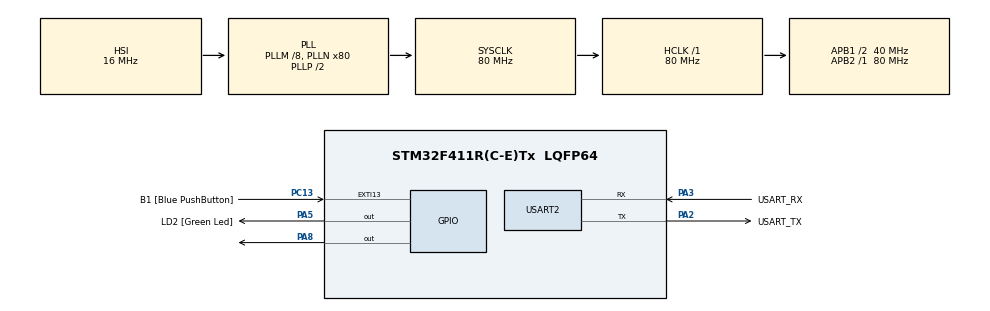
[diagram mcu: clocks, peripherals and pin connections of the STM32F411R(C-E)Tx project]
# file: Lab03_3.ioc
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Mcu.Family=STM32F4
Mcu.Name=STM32F411R(C-E)Tx
Mcu.Package=LQFP64
NVIC.EXTI15_10_IRQn=true\:0\:0\:false\:false\:true\:true\:true\:true
NVIC.PriorityGroup=NVIC_PRIORITYGROUP_0
NVIC.TIM1_BRK_TIM9_IRQn=true\:0\:0\:false\:false\:true\:true\:true\:true
NVIC.TIM1_TRG_COM_TIM11_IRQn=true\:0\:0\:false\:false\:true\:true\:true\:true
NVIC.TIM1_UP_TIM10_IRQn=true\:0\:0\:false\:false\:true\:true\:true\:true
PA13.GPIO_Label=TMS
PA13.Mode=Serial_Wire
PA13.Signal=SYS_JTMS-SWDIO
PA14.GPIO_Label=TCK
PA14.Mode=Serial_Wire
PA14.Signal=SYS_JTCK-SWCLK
PA2.GPIO_Label=USART_TX
PA2.Mode=Asynchronous
PA2.Signal=USART2_TX
PA3.GPIO_Label=USART_RX
PA3.Mode=Asynchronous
PA3.Signal=USART2_RX
PA5.GPIO_Label=LD2 [Green Led]
PA5.Signal=GPIO_Output
PA8.Signal=GPIO_Output
PB3.GPIO_Label=SWO
PB3.Signal=SYS_JTDO-SWO
PC13-ANTI_TAMP.GPIO_Label=B1 [Blue PushButton]
PC13-ANTI_TAMP.GPIO_ModeDefaultEXTI=GPIO_MODE_IT_FALLING
PC13-ANTI_TAMP.GPIO_PuPd=GPIO_PULLUP
PC13-ANTI_TAMP.Signal=GPXTI13
PC14-OSC32_IN.Mode=LSE-External-Oscillator
PC14-OSC32_IN.Signal=RCC_OSC32_IN
PC15-OSC32_OUT.Mode=LSE-External-Oscillator
PC15-OSC32_OUT.Signal=RCC_OSC32_OUT
PH0\ -\ OSC_IN.Mode=HSE-External-Oscillator
PH0\ -\ OSC_IN.Signal=RCC_OSC_IN
PH1\ -\ OSC_OUT.Mode=HSE-External-Oscillator
PH1\ -\ OSC_OUT.Signal=RCC_OSC_OUT
ProjectManager.HeapSize=0x200
ProjectManager.StackSize=0x400
ProjectManager.TargetToolchain=STM32CubeIDE
RCC.48MHZClocksFreq_Value=40000000
RCC.AHBFreq_Value=80000000
RCC.APB1CLKDivider=RCC_HCLK_DIV2
RCC.APB1Freq_Value=40000000
RCC.APB1TimFreq_Value=80000000
RCC.APB2Freq_Value=80000000
RCC.APB2TimFreq_Value=80000000
RCC.CortexFreq_Value=80000000
RCC.FLatency-AdvancedSettings=FLASH_LATENCY_2
RCC.HCLKFreq_Value=80000000
RCC.HSE_VALUE=8000000
RCC.HSI_VALUE=16000000
RCC.PLLM=8
RCC.PLLN=80
RCC.SYSCLKFreq_VALUE=80000000
RCC.SYSCLKSource=RCC_SYSCLKSOURCE_PLLCLK
RCC.VCOOutputFreq_Value=160000000
TIM10.Period=39240
TIM10.Prescaler=1000
TIM11.Period=39996
TIM11.Prescaler=2000
TIM9.Period=40000
TIM9.Prescaler=1000
USART2.VirtualMode=VM_ASYNC
VP_TIM10_VS_ClockSourceINT.Mode=Enable_Timer
VP_TIM11_VS_ClockSourceINT.Mode=Enable_Timer
VP_TIM9_VS_ClockSourceINT.Mode=Internal
board=NUCLEO-F411RE

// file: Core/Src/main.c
/* USER CODE BEGIN Header */
/**
  ******************************************************************************
  * @file           : main.c
  * @brief          : Main program body
  ******************************************************************************
  * @attention
  *
  * Copyright (c) 2023 STMicroelectronics.
  * All rights reserved.
  *
  * This software is licensed under terms that can be found in the LICENSE file
  * in the root directory of this software component.
  * If no LICENSE file comes with this software, it is provided AS-IS.
  *
  ******************************************************************************
  */
/* USER CODE END Header */
#include "main.h"

TIM_HandleTypeDef htim9;
TIM_HandleTypeDef htim10;
TIM_HandleTypeDef htim11;

UART_HandleTypeDef huart2;

void SystemClock_Config(void);
static void MX_GPIO_Init(void);
static void MX_USART2_UART_Init(void);
static void MX_TIM10_Init(void);
static void MX_TIM9_Init(void);
static void MX_TIM11_Init(void);

/* USER CODE BEGIN 0 */
int green_counter = 0;
int red_counter = 0;

char temp[16];
/* USER CODE END 0 */

int main(void)
{

  /* MCU Configuration--------------------------------------------------------*/

  /* Reset of all peripherals, Initializes the Flash interface and the Systick. */
  HAL_Init();

  /* Configure the system clock */
  SystemClock_Config();

  /* Initialize all configured peripherals */
  MX_GPIO_Init();
  MX_USART2_UART_Init();
  MX_TIM10_Init();
  MX_TIM9_Init();
  MX_TIM11_Init();
  /* USER CODE BEGIN 2 */
  HAL_TIM_Base_Start_IT(&htim9);
  HAL_TIM_Base_Start_IT(&htim10);
  HAL_TIM_Base_Start_IT(&htim11);
  /* USER CODE END 2 */

  /* Infinite loop */
  while (1)
  {

  }
}

void SystemClock_Config(void)
{
  RCC_OscInitTypeDef RCC_OscInitStruct = {0};
  RCC_ClkInitTypeDef RCC_ClkInitStruct = {0};

  /** Configure the main internal regulator output voltage
  */
  __HAL_RCC_PWR_CLK_ENABLE();
  __HAL_PWR_VOLTAGESCALING_CONFIG(PWR_REGULATOR_VOLTAGE_SCALE1);

  /** Initializes the RCC Oscillators according to the specified parameters
  * in the RCC_OscInitTypeDef structure.
  */
  RCC_OscInitStruct.OscillatorType = RCC_OSCILLATORTYPE_HSI;
  RCC_OscInitStruct.HSIState = RCC_HSI_ON;
  RCC_OscInitStruct.HSICalibrationValue = RCC_HSICALIBRATION_DEFAULT;
  RCC_OscInitStruct.PLL.PLLState = RCC_PLL_ON;
  RCC_OscInitStruct.PLL.PLLSource = RCC_PLLSOURCE_HSI;
  RCC_OscInitStruct.PLL.PLLM = 8;
  RCC_OscInitStruct.PLL.PLLN = 80;
  RCC_OscInitStruct.PLL.PLLP = RCC_PLLP_DIV2;
  RCC_OscInitStruct.PLL.PLLQ = 4;
  if (HAL_RCC_OscConfig(&RCC_OscInitStruct) != HAL_OK)
  {
    Error_Handler();
  }

  /** Initializes the CPU, AHB and APB buses clocks
  */
  RCC_ClkInitStruct.ClockType = RCC_CLOCKTYPE_HCLK|RCC_CLOCKTYPE_SYSCLK
                              |RCC_CLOCKTYPE_PCLK1|RCC_CLOCKTYPE_PCLK2;
  RCC_ClkInitStruct.SYSCLKSource = RCC_SYSCLKSOURCE_PLLCLK;
  RCC_ClkInitStruct.AHBCLKDivider = RCC_SYSCLK_DIV1;
  RCC_ClkInitStruct.APB1CLKDivider = RCC_HCLK_DIV2;
  RCC_ClkInitStruct.APB2CLKDivider = RCC_HCLK_DIV1;

  if (HAL_RCC_ClockConfig(&RCC_ClkInitStruct, FLASH_LATENCY_2) != HAL_OK)
  {
    Error_Handler();
  }
}

static void MX_TIM9_Init(void)
{

  TIM_ClockConfigTypeDef sClockSourceConfig = {0};

  htim9.Instance = TIM9;
  htim9.Init.Prescaler = 1000;
  htim9.Init.CounterMode = TIM_COUNTERMODE_UP;
  htim9.Init.Period = 40000;
  htim9.Init.ClockDivision = TIM_CLOCKDIVISION_DIV1;
  htim9.Init.AutoReloadPreload = TIM_AUTORELOAD_PRELOAD_DISABLE;
  if (HAL_TIM_Base_Init(&htim9) != HAL_OK)
  {
    Error_Handler();
  }
  sClockSourceConfig.ClockSource = TIM_CLOCKSOURCE_INTERNAL;
  if (HAL_TIM_ConfigClockSource(&htim9, &sClockSourceConfig) != HAL_OK)
  {
    Error_Handler();
  }

}

static void MX_TIM10_Init(void)
{

  htim10.Instance = TIM10;
  htim10.Init.Prescaler = 1000;
  htim10.Init.CounterMode = TIM_COUNTERMODE_UP;
  htim10.Init.Period = 39240;
  htim10.Init.ClockDivision = TIM_CLOCKDIVISION_DIV1;
  htim10.Init.AutoReloadPreload = TIM_AUTORELOAD_PRELOAD_DISABLE;
  if (HAL_TIM_Base_Init(&htim10) != HAL_OK)
  {
    Error_Handler();
  }

}

static void MX_TIM11_Init(void)
{

  htim11.Instance = TIM11;
  htim11.Init.Prescaler = 2000;
  htim11.Init.CounterMode = TIM_COUNTERMODE_UP;
  htim11.Init.Period = 39996;
  htim11.Init.ClockDivision = TIM_CLOCKDIVISION_DIV1;
  htim11.Init.AutoReloadPreload = TIM_AUTORELOAD_PRELOAD_DISABLE;
  if (HAL_TIM_Base_Init(&htim11) != HAL_OK)
  {
    Error_Handler();
  }

}

static void MX_USART2_UART_Init(void)
{

  huart2.Instance = USART2;
  huart2.Init.BaudRate = 115200;
  huart2.Init.WordLength = UART_WORDLENGTH_8B;
  huart2.Init.StopBits = UART_STOPBITS_1;
  huart2.Init.Parity = UART_PARITY_NONE;
  huart2.Init.Mode = UART_MODE_TX_RX;
  huart2.Init.HwFlowCtl = UART_HWCONTROL_NONE;
  huart2.Init.OverSampling = UART_OVERSAMPLING_16;
  if (HAL_UART_Init(&huart2) != HAL_OK)
  {
    Error_Handler();
  }

}

static void MX_GPIO_Init(void)
{
  GPIO_InitTypeDef GPIO_InitStruct = {0};

  /* GPIO Ports Clock Enable */
  __HAL_RCC_GPIOC_CLK_ENABLE();
  __HAL_RCC_GPIOH_CLK_ENABLE();
  __HAL_RCC_GPIOA_CLK_ENABLE();
  __HAL_RCC_GPIOB_CLK_ENABLE();

  /*Configure GPIO pin Output Level */
  HAL_GPIO_WritePin(GPIOA, LD2_Pin|GPIO_PIN_8, GPIO_PIN_RESET);

  /*Configure GPIO pin : B1_Pin */
  GPIO_InitStruct.Pin = B1_Pin;
  GPIO_InitStruct.Mode = GPIO_MODE_IT_FALLING;
  GPIO_InitStruct.Pull = GPIO_PULLUP;
  HAL_GPIO_Init(B1_GPIO_Port, &GPIO_InitStruct);

  /*Configure GPIO pins : LD2_Pin PA8 */
  GPIO_InitStruct.Pin = LD2_Pin|GPIO_PIN_8;
  GPIO_InitStruct.Mode = GPIO_MODE_OUTPUT_PP;
  GPIO_InitStruct.Pull = GPIO_NOPULL;
  GPIO_InitStruct.Speed = GPIO_SPEED_FREQ_LOW;
  HAL_GPIO_Init(GPIOA, &GPIO_InitStruct);

  /* EXTI interrupt init*/
  HAL_NVIC_SetPriority(EXTI15_10_IRQn, 0, 0);
  HAL_NVIC_EnableIRQ(EXTI15_10_IRQn);

}

/* USER CODE BEGIN 4 */
void HAL_TIM_PeriodElapsedCallback(TIM_HandleTypeDef* htim)
{
	  if (htim->Instance == TIM9) {
	      HAL_GPIO_TogglePin(GPIOA, GPIO_PIN_5);
	      green_counter++;
	  }

	  if (htim->Instance == TIM10) {
	      HAL_GPIO_TogglePin(GPIOA, GPIO_PIN_8);
	      red_counter++;
	  }

	  if (htim->Instance == TIM11) {
		  sprintf(temp, "%d %d\r\n", green_counter, red_counter);
		  HAL_UART_Transmit(&huart2, &temp, sizeof(temp), 10);
	  }
}
/* USER CODE END 4 */

void Error_Handler(void)
{
  __disable_irq();
  while (1)
  {
  }
}
